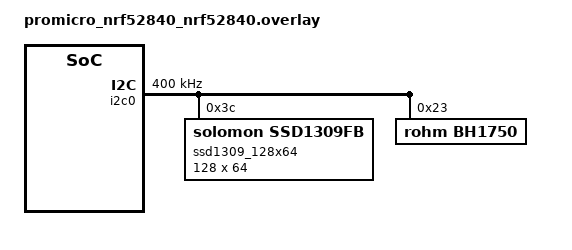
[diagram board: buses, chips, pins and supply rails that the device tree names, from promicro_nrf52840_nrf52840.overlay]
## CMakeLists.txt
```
cmake_minimum_required(VERSION 3.20.0)

find_package(Zephyr REQUIRED HINTS $ENV{ZEPHYR_BASE})

project(05_BLE)

target_include_directories(app PRIVATE
    src
)

target_sources(app PRIVATE
    src/main.c
    src/app/app.c
    src/hal/led.c
    src/drivers/display.c
    src/drivers/font.c
    src/drivers/sensor.c
    src/bluetooth/ble.c
    src/bluetooth/led_service.c
)
```

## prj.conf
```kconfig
# ===== BLE Stack =====
CONFIG_BT=y
CONFIG_BT_PERIPHERAL=y
CONFIG_BT_SMP=n

# ===== Logging - only show our messages =====
CONFIG_LOG=y
CONFIG_LOG_DEFAULT_LEVEL=2

# ===== Device Name =====
CONFIG_BT_DEVICE_NAME="promicro nrf52840"

# ===== Disable userspace to avoid syscalls issues =====
CONFIG_USERSPACE=n

# ===== Generate UF2 file for drag-and-drop flashing =====
CONFIG_BUILD_OUTPUT_UF2=y

# ===== Display SSD1309 OLED =====
CONFIG_DISPLAY=y

# ===== Sensor BH1750 =====
CONFIG_SENSOR=y
CONFIG_BH1750=y
```

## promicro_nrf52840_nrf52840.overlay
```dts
/ {
    chosen {
        zephyr,display = &ssd1309_128x64;
    };
};

&i2c0 {
    clock-frequency = <I2C_BITRATE_FAST>;

    ssd1309_128x64: ssd1309@3c {
        compatible = "solomon,ssd1309fb";
        reg = <0x3c>;
        width = <128>;
        height = <64>;
        segment-offset = <0>;
        page-offset = <0>;
        display-offset = <0>;
        multiplex-ratio = <63>;
        segment-remap;
        com-invdir;
        prechargep = <0x22>;
    };

    bh1750: bh1750@23 {
        compatible = "rohm,bh1750";
        reg = <0x23>;
    };
};
```

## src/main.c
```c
#include <zephyr/kernel.h>
#include "app/app.h"

int main(void)
{
    return app_init();
}
```

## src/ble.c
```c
#include <stdint.h>
#include <string.h>
#include "ble.h"
#include "led.h"
#include "display.h"
#include <zephyr/kernel.h>
#include <zephyr/logging/log.h>
#include <zephyr/bluetooth/bluetooth.h>
#include <zephyr/bluetooth/hci.h>

LOG_MODULE_REGISTER(ble, LOG_LEVEL_INF);

static void connected(struct bt_conn *conn, uint8_t err);
static void disconnected(struct bt_conn *conn, uint8_t reason);

static struct bt_conn_cb conn_callbacks = {
    .connected = connected,
    .disconnected = disconnected,
};

static struct k_work_delayable adv_work;

static void adv_work_handler(struct k_work *work)
{
    ble_start_advertising();
}

static void connected(struct bt_conn *conn, uint8_t err)
{
    if (err != 0) {
        LOG_ERR("Connection failed: %d", err);
        k_work_schedule(&adv_work, K_MSEC(500));
        return;
    }
    LOG_INF("Connected");
    led_stop_scan_blink();
    led_blink_fast(3);
    display_set_ble_connected(true);
    display_set_led(false);
}

static void disconnected(struct bt_conn *conn, uint8_t reason)
{
    LOG_INF("Disconnected, reason=%d", reason);
    led_start_scan_blink();
    display_set_ble_connected(false);
    display_set_led(false);
    k_work_schedule(&adv_work, K_MSEC(500));
}

int ble_init(void)
{
    int ret;

    k_work_init_delayable(&adv_work, adv_work_handler);
    bt_conn_cb_register(&conn_callbacks);

    ret = bt_enable(NULL);
    if (ret < 0) {
        return ret;
    }

    ble_start_advertising();
    return 0;
}

static uint8_t const adv_flags[] = { 0x02 };

void ble_start_advertising(void)
{
    int ret;

    static struct bt_le_adv_param param = {
        .options = BT_LE_ADV_OPT_CONN,
        .interval_min = BT_GAP_ADV_SLOW_INT_MIN,
        .interval_max = BT_GAP_ADV_SLOW_INT_MAX,
        .peer = NULL,
    };

    static const struct bt_data ad[] = {
        BT_DATA(BT_DATA_FLAGS, adv_flags, sizeof(adv_flags)),
        BT_DATA(BT_DATA_NAME_COMPLETE,
                (uint8_t const *)CONFIG_BT_DEVICE_NAME,
                strlen(CONFIG_BT_DEVICE_NAME)),
    };

    static const struct bt_data sd[] = {};

    bt_le_adv_stop();
    ret = bt_le_adv_start(&param, ad, ARRAY_SIZE(ad), sd, ARRAY_SIZE(sd));
    if (ret < 0) {
        LOG_ERR("advertising start failed: %d", ret);
    }
}
```

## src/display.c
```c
#include <stdint.h>
#include <stdbool.h>
#include <string.h>
#include <zephyr/kernel.h>
#include <zephyr/logging/log.h>
#include <zephyr/device.h>
#include <zephyr/drivers/display.h>
#include "display.h"
#include "font.h"

LOG_MODULE_REGISTER(disp, LOG_LEVEL_INF);

#define FB_SIZE 1024

static const struct device *display_dev;
static uint8_t fb[FB_SIZE];
static bool ble_connected;
static bool led_on;

static void fb_invert_pages(uint8_t start_page, uint8_t num_pages)
{
    for (uint8_t p = start_page; p < start_page + num_pages; p++) {
        for (uint16_t i = p * 128; i < (p + 1) * 128; i++) {
            fb[i] ^= 0xFF;
        }
    }
}

static void fb_fill_rect(uint8_t page, uint16_t x, uint8_t w, uint8_t h)
{
    for (uint8_t col = x; col < x + w && col < 128; col++) {
        fb[page * 128 + col] |= (0xFF >> (8 - h));
    }
}

static void display_render(void)
{
    memset(fb, 0, FB_SIZE);

    /* Header bar: pages 0-1 */
    font_render_text(fb, FB_SIZE, "BLE CTRL", 36, 1);
    fb_invert_pages(0, 2);

    /* BLE status: page 3 */
    if (ble_connected) {
        fb_fill_rect(3, 4, 6, 6);
    }
    font_render_text(fb, FB_SIZE, "BLE", 12, 3);
    font_render_text(fb, FB_SIZE,
                     ble_connected ? "Connected" : "Scanning", 44, 3);

    /* LED status: page 4 */
    if (led_on) {
        fb_fill_rect(4, 4, 6, 6);
    }
    font_render_text(fb, FB_SIZE, "LED", 12, 4);
    font_render_text(fb, FB_SIZE, led_on ? "ON" : "OFF", 44, 4);

    /* Footer bar: pages 6-7 */
    font_render_text(fb, FB_SIZE, "promicro", 36, 6);
    fb_invert_pages(6, 2);

    /* Flush to display */
    struct display_buffer_descriptor desc = {
        .buf_size = FB_SIZE,
        .width = 128,
        .height = 64,
        .pitch = 128,
    };
    display_write(display_dev, 0, 0, &desc, fb);
}

int display_init(void)
{
    display_dev = DEVICE_DT_GET(DT_CHOSEN(zephyr_display));
    if (!device_is_ready(display_dev)) {
        LOG_ERR("Display not ready");
        return -1;
    }

    display_blanking_off(display_dev);

    ble_connected = false;
    led_on = false;
    display_render();

    LOG_INF("Display ready");
    return 0;
}

void display_set_ble_connected(bool connected)
{
    ble_connected = connected;
    display_render();
}

void display_set_led(bool on)
{
    led_on = on;
    display_render();
}
```

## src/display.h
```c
#ifndef DISPLAY_H__
#define DISPLAY_H__

#include <stdbool.h>

int display_init(void);
void display_set_ble_connected(bool connected);
void display_set_led(bool on);

#endif
```

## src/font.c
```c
#include "font.h"
#include <string.h>

static const uint8_t font_8x8[FONT_CHAR_COUNT][8] = {
    {0x00, 0x00, 0x00, 0x00, 0x00, 0x00, 0x00, 0x00},
    {0x18, 0x18, 0x18, 0x18, 0x18, 0x00, 0x18, 0x00},
    {0x6C, 0x6C, 0x24, 0x00, 0x00, 0x00, 0x00, 0x00},
    {0x6C, 0x6C, 0xFE, 0x6C, 0xFE, 0x6C, 0x6C, 0x00},
    {0x18, 0x3E, 0x60, 0x3C, 0x06, 0x7C, 0x18, 0x00},
    {0x00, 0xC6, 0xCC, 0x18, 0x30, 0x66, 0xC6, 0x00},
    {0x38, 0x6C, 0x38, 0x76, 0xDC, 0xCC, 0x76, 0x00},
    {0x18, 0x18, 0x30, 0x00, 0x00, 0x00, 0x00, 0x00},
    {0x0C, 0x18, 0x30, 0x30, 0x30, 0x18, 0x0C, 0x00},
    {0x30, 0x18, 0x0C, 0x0C, 0x0C, 0x18, 0x30, 0x00},
    {0x00, 0x66, 0x3C, 0xFF, 0x3C, 0x66, 0x00, 0x00},
    {0x00, 0x18, 0x18, 0x7E, 0x18, 0x18, 0x00, 0x00},
    {0x00, 0x00, 0x00, 0x00, 0x00, 0x18, 0x18, 0x30},
    {0x00, 0x00, 0x00, 0x7E, 0x00, 0x00, 0x00, 0x00},
    {0x00, 0x00, 0x00, 0x00, 0x00, 0x18, 0x18, 0x00},
    {0x06, 0x0C, 0x18, 0x30, 0x60, 0xC0, 0x80, 0x00},
    {0x7C, 0xC6, 0xCE, 0xD6, 0xE6, 0xC6, 0x7C, 0x00},
    {0x18, 0x38, 0x18, 0x18, 0x18, 0x18, 0x7E, 0x00},
    {0x7C, 0xC6, 0x06, 0x1C, 0x30, 0x66, 0xFE, 0x00},
    {0x7C, 0xC6, 0x06, 0x3C, 0x06, 0xC6, 0x7C, 0x00},
    {0x1C, 0x3C, 0x6C, 0xCC, 0xFE, 0x0C, 0x1E, 0x00},
    {0xFE, 0xC0, 0xC0, 0xFC, 0x06, 0xC6, 0x7C, 0x00},
    {0x38, 0x60, 0xC0, 0xFC, 0xC6, 0xC6, 0x7C, 0x00},
    {0xFE, 0xC6, 0x0C, 0x18, 0x30, 0x30, 0x30, 0x00},
    {0x7C, 0xC6, 0xC6, 0x7C, 0xC6, 0xC6, 0x7C, 0x00},
    {0x7C, 0xC6, 0xC6, 0x7E, 0x06, 0x0C, 0x78, 0x00},
    {0x00, 0x18, 0x18, 0x00, 0x00, 0x18, 0x18, 0x00},
    {0x00, 0x18, 0x18, 0x00, 0x00, 0x18, 0x18, 0x30},
    {0x06, 0x0C, 0x18, 0x30, 0x18, 0x0C, 0x06, 0x00},
    {0x00, 0x00, 0x7E, 0x00, 0x00, 0x7E, 0x00, 0x00},
    {0x60, 0x30, 0x18, 0x0C, 0x18, 0x30, 0x60, 0x00},
    {0x7C, 0xC6, 0x0C, 0x18, 0x18, 0x00, 0x18, 0x00},
    {0x7C, 0xC6, 0xDE, 0xDE, 0xDE, 0xC0, 0x78, 0x00},
    {0x38, 0x6C, 0xC6, 0xC6, 0xFE, 0xC6, 0xC6, 0x00},
    {0xFC, 0x66, 0x66, 0x7C, 0x66, 0x66, 0xFC, 0x00},
    {0x3C, 0x66, 0xC0, 0xC0, 0xC0, 0x66, 0x3C, 0x00},
    {0xF8, 0x6C, 0x66, 0x66, 0x66, 0x6C, 0xF8, 0x00},
    {0xFE, 0x62, 0x68, 0x78, 0x68, 0x62, 0xFE, 0x00},
    {0xFE, 0x62, 0x68, 0x78, 0x68, 0x60, 0xF0, 0x00},
    {0x3C, 0x66, 0xC0, 0xC0, 0xCE, 0x66, 0x3A, 0x00},
    {0xC6, 0xC6, 0xC6, 0xFE, 0xC6, 0xC6, 0xC6, 0x00},
    {0x3C, 0x18, 0x18, 0x18, 0x18, 0x18, 0x3C, 0x00},
    {0x1E, 0x0C, 0x0C, 0x0C, 0xCC, 0xCC, 0x78, 0x00},
    {0xE6, 0x66, 0x6C, 0x78, 0x6C, 0x66, 0xE6, 0x00},
    {0xF0, 0x60, 0x60, 0x60, 0x62, 0x66, 0xFE, 0x00},
    {0xC6, 0xEE, 0xFE, 0xFE, 0xD6, 0xC6, 0xC6, 0x00},
    {0xC6, 0xE6, 0xF6, 0xDE, 0xCE, 0xC6, 0xC6, 0x00},
    {0x7C, 0xC6, 0xC6, 0xC6, 0xC6, 0xC6, 0x7C, 0x00},
    {0xFC, 0x66, 0x66, 0x7C, 0x60, 0x60, 0xF0, 0x00},
    {0x7C, 0xC6, 0xC6, 0xC6, 0xC6, 0xCE, 0x7C, 0x0E},
    {0xFC, 0x66, 0x66, 0x7C, 0x6C, 0x66, 0xE6, 0x00},
    {0x7C, 0xC6, 0x60, 0x38, 0x0C, 0xC6, 0x7C, 0x00},
    {0x7E, 0x7E, 0x5A, 0x18, 0x18, 0x18, 0x3C, 0x00},
    {0xC6, 0xC6, 0xC6, 0xC6, 0xC6, 0xC6, 0x7C, 0x00},
    {0xC6, 0xC6, 0xC6, 0xC6, 0xC6, 0x6C, 0x38, 0x00},
    {0xC6, 0xC6, 0xC6, 0xD6, 0xFE, 0xEE, 0xC6, 0x00},
    {0xC6, 0xC6, 0x6C, 0x38, 0x6C, 0xC6, 0xC6, 0x00},
    {0x66, 0x66, 0x66, 0x3C, 0x18, 0x18, 0x3C, 0x00},
    {0xFE, 0xC6, 0x8C, 0x18, 0x32, 0x66, 0xFE, 0x00},
    {0x3C, 0x30, 0x30, 0x30, 0x30, 0x30, 0x3C, 0x00},
    {0xC0, 0x60, 0x30, 0x18, 0x0C, 0x06, 0x02, 0x00},
    {0x3C, 0x0C, 0x0C, 0x0C, 0x0C, 0x0C, 0x3C, 0x00},
    {0x10, 0x38, 0x6C, 0xC6, 0x00, 0x00, 0x00, 0x00},
    {0x00, 0x00, 0x00, 0x00, 0x00, 0x00, 0x00, 0xFF},
    {0x30, 0x18, 0x0C, 0x00, 0x00, 0x00, 0x00, 0x00},
    {0x00, 0x00, 0x78, 0x0C, 0x7C, 0xCC, 0x76, 0x00},
    {0xE0, 0x60, 0x60, 0x7C, 0x66, 0x66, 0xDC, 0x00},
    {0x00, 0x00, 0x78, 0xCC, 0xC0, 0xCC, 0x78, 0x00},
    {0x1C, 0x0C, 0x0C, 0x7C, 0xCC, 0xCC, 0x76, 0x00},
    {0x00, 0x00, 0x78, 0xCC, 0xFC, 0xC0, 0x78, 0x00},
    {0x38, 0x6C, 0x64, 0xF0, 0x60, 0x60, 0xF0, 0x00},
    {0x00, 0x00, 0x76, 0xCC, 0xCC, 0x7C, 0x0C, 0xF8},
    {0xE0, 0x60, 0x6C, 0x76, 0x66, 0x66, 0xE6, 0x00},
    {0x18, 0x00, 0x38, 0x18, 0x18, 0x18, 0x3C, 0x00},
    {0x06, 0x00, 0x06, 0x06, 0x06, 0x66, 0x66, 0x3C},
    {0xE0, 0x60, 0x66, 0x6C, 0x78, 0x6C, 0xE6, 0x00},
    {0x38, 0x18, 0x18, 0x18, 0x18, 0x18, 0x3C, 0x00},
    {0x00, 0x00, 0xEC, 0xFE, 0xD6, 0xD6, 0xD6, 0x00},
    {0x00, 0x00, 0xDC, 0x66, 0x66, 0x66, 0x66, 0x00},
    {0x00, 0x00, 0x78, 0xCC, 0xCC, 0xCC, 0x78, 0x00},
    {0x00, 0x00, 0xDC, 0x66, 0x66, 0x7C, 0x60, 0xF0},
    {0x00, 0x00, 0x76, 0xCC, 0xCC, 0x7C, 0x0C, 0x1E},
    {0x00, 0x00, 0xDC, 0x76, 0x60, 0x60, 0xF0, 0x00},
    {0x00, 0x00, 0x7C, 0xC0, 0x70, 0x1C, 0xF8, 0x00},
    {0x30, 0x30, 0xFC, 0x30, 0x30, 0x34, 0x18, 0x00},
    {0x00, 0x00, 0xCC, 0xCC, 0xCC, 0xCC, 0x76, 0x00},
    {0x00, 0x00, 0xC6, 0xC6, 0xC6, 0x6C, 0x38, 0x00},
    {0x00, 0x00, 0xC6, 0xD6, 0xD6, 0xFE, 0x6C, 0x00},
    {0x00, 0x00, 0xC6, 0x6C, 0x38, 0x6C, 0xC6, 0x00},
    {0x00, 0x00, 0xC6, 0xC6, 0xC6, 0x7E, 0x06, 0xFC},
    {0x00, 0x00, 0x7E, 0x4C, 0x18, 0x32, 0x7E, 0x00},
    {0x0E, 0x18, 0x18, 0x70, 0x18, 0x18, 0x0E, 0x00},
    {0x18, 0x18, 0x18, 0x00, 0x18, 0x18, 0x18, 0x00},
    {0x70, 0x18, 0x18, 0x0E, 0x18, 0x18, 0x70, 0x00},
    {0x76, 0xDC, 0x00, 0x00, 0x00, 0x00, 0x00, 0x00},
};

const uint8_t *font_get_glyph(char c)
{
    if (c < FONT_FIRST_CHAR || c > FONT_LAST_CHAR) {
        return NULL;
    }
    return font_8x8[c - FONT_FIRST_CHAR];
}

int font_render_char(uint8_t *buf, size_t buf_size, char c, uint16_t x, uint8_t page)
{
    const uint8_t *glyph;
    uint8_t i, j;

    if (buf == NULL || buf_size == 0) {
        return -1;
    }

    glyph = font_get_glyph(c);
    if (glyph == NULL) {
        return -1;
    }

    if (x + FONT_WIDTH > FONT_DISPLAY_WIDTH) {
        return -1;
    }

    for (i = 0; i < 8; i++) {
        for (j = 0; j < 8; j++) {
            if (glyph[i] & (0x80 >> j)) {
                uint16_t col = x + j;
                uint16_t idx = (uint16_t)page * 128 + col;
                if (idx < buf_size) {
                    buf[idx] |= (1 << i);
                }
            }
        }
    }

    return 0;
}

int font_render_text(uint8_t *buf, size_t buf_size, const char *text, uint16_t x, uint8_t page)
{
    int ret = 0;

    while (*text != '\0') {
        ret = font_render_char(buf, buf_size, *text, x, page);
        if (ret < 0) {
            return ret;
        }
        x += FONT_WIDTH;
        text++;
    }

    return 0;
}

bool font_is_printable(char c)
{
    return (c >= FONT_FIRST_CHAR && c <= FONT_LAST_CHAR);
}
```

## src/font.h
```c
#ifndef FONT_H__
#define FONT_H__

#include <stdint.h>
#include <stdbool.h>
#include <stddef.h>

#define FONT_WIDTH          8
#define FONT_DISPLAY_WIDTH  128
#define FONT_FIRST_CHAR     32
#define FONT_LAST_CHAR      126
#define FONT_CHAR_COUNT     95

const uint8_t *font_get_glyph(char c);
int font_render_char(uint8_t *buf, size_t buf_size, char c, uint16_t x, uint8_t page);
int font_render_text(uint8_t *buf, size_t buf_size, const char *text, uint16_t x, uint8_t page);
bool font_is_printable(char c);

#endif
```

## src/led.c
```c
#include <stdint.h>
#include <stdbool.h>
#include <hal/nrf_gpio.h>
#include <zephyr/kernel.h>

#define LED_PIN 15

static struct k_work_delayable scan_work;
static bool scan_phase_on;

static void scan_blink_handler(struct k_work *work)
{
    scan_phase_on = !scan_phase_on;
    if (scan_phase_on) {
        nrf_gpio_pin_set(LED_PIN);
        k_work_schedule(&scan_work, K_MSEC(100));
    } else {
        nrf_gpio_pin_clear(LED_PIN);
        k_work_schedule(&scan_work, K_MSEC(900));
    }
}

void led_init(void)
{
    nrf_gpio_pin_dir_set(LED_PIN, NRF_GPIO_PIN_DIR_OUTPUT);
    nrf_gpio_pin_clear(LED_PIN);
    k_work_init_delayable(&scan_work, scan_blink_handler);
}

void led_on(void)
{
    nrf_gpio_pin_set(LED_PIN);
}

void led_off(void)
{
    nrf_gpio_pin_clear(LED_PIN);
}

void led_toggle(void)
{
    nrf_gpio_pin_toggle(LED_PIN);
}

void led_blink_fast(uint8_t count)
{
    for (uint8_t i = 0; i < count; i++) {
        led_on();
        k_msleep(150);
        led_off();
        k_msleep(150);
    }
}

void led_start_scan_blink(void)
{
    scan_phase_on = false;
    k_work_schedule(&scan_work, K_MSEC(100));
}

void led_stop_scan_blink(void)
{
    k_work_cancel_delayable(&scan_work);
    nrf_gpio_pin_clear(LED_PIN);
}
```

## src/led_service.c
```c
#include <stdint.h>
#include "led_service.h"
#include "led.h"
#include "display.h"
#include <zephyr/logging/log.h>
#include <zephyr/bluetooth/bluetooth.h>
#include <zephyr/bluetooth/gatt.h>

LOG_MODULE_REGISTER(led_svc, LOG_LEVEL_INF);

static ssize_t led_control_write(struct bt_conn *conn,
                                 struct bt_gatt_attr const *attr,
                                 void const *buf, uint16_t len,
                                 uint16_t offset, uint8_t flags)
{
    uint8_t const *cmd = (uint8_t const *)buf;

    if (len < 1) {
        return BT_GATT_ERR(BT_ATT_ERR_INVALID_ATTRIBUTE_LEN);
    }

    if (cmd[0] == 0x01) {
        led_on();
        display_set_led(true);
        LOG_INF("LED ON");
    } else if (cmd[0] == 0x00) {
        led_off();
        display_set_led(false);
        LOG_INF("LED OFF");
    } else {
        led_toggle();
        display_set_led(true);
        LOG_INF("LED TOGGLE");
    }

    return len;
}

BT_GATT_SERVICE_DEFINE(led_svc,
    BT_GATT_PRIMARY_SERVICE(BT_UUID_DECLARE_16(0xABCD)),
    BT_GATT_CHARACTERISTIC(BT_UUID_DECLARE_16(0xABCE),
                           BT_GATT_CHRC_WRITE | BT_GATT_CHRC_WRITE_WITHOUT_RESP,
                           BT_GATT_PERM_WRITE,
                           NULL, led_control_write, NULL),
);

int led_service_init(void)
{
    return 0;
}
```

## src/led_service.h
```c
#ifndef LED_SERVICE_H__
#define LED_SERVICE_H__

int led_service_init(void);

#endif /* LED_SERVICE_H__ */
```
